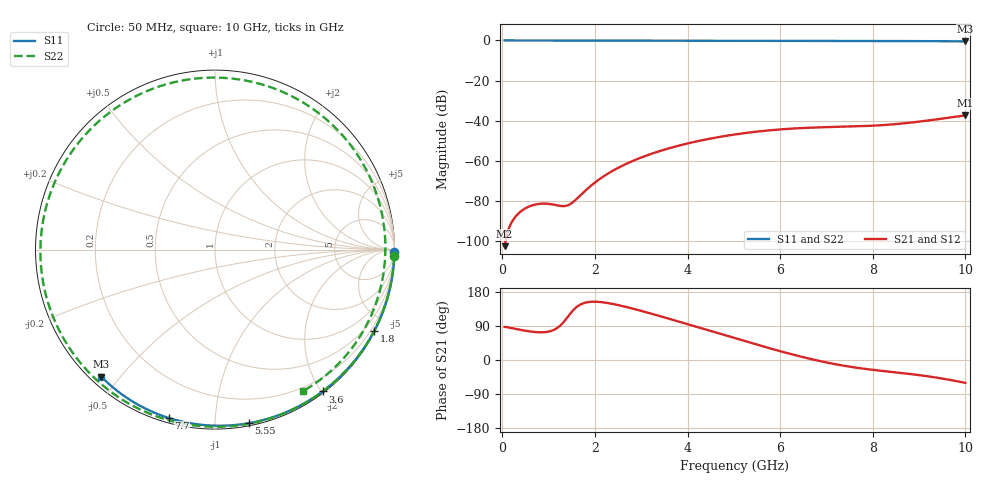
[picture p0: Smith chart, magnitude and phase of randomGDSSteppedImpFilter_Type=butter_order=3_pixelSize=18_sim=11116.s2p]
! freq	dB(S11)	phase(S11)	dB(S12)	phase(S12)
!  dB(S21)	phase(S21)	dB(S22)	phase(S22)
!S-par simulation data
#  GHz  S  DB  R 50
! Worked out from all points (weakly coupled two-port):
!   200 points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, 50 MHz to 10 GHz, reference 50 ohm
!   highest |S21| = -37.36 dB at 10 GHz (marker M1); lowest = -102.5 dB at 50 MHz (marker M2)
!   lowest |S11| = -0.4 dB at 10 GHz (marker M3), VSWR 38.88, Z = 1.54 - j22.3 ohm
!   |S11| at or under -10 dB: nowhere
!   |S22| runs from -0.6 to 0.0 dB; largest |S21 - S12| = 0
!   S11 on the Smith chart (normalised r, x): 50 MHz: open; 1.8 GHz: 0.04, -4.16; 3.6 GHz: 0.02, -2.01; 5.55 GHz: 0.02, -1.22; 7.7 GHz: 0.02, -0.76; 10 GHz: 0.03, -0.45
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0.05  -0.00 -0.8  -102.54 87.3  -102.54 87.3  -0.01 -2.2
0.75  -0.01 -11.4  -81.63 73.4  -81.63 73.4  -0.04 -31.5
1.15  -0.02 -17.4  -82.03 81.7  -82.03 81.7  -0.06 -48.1
1.55  -0.03 -23.3  -80.16 133.7  -80.16 133.7  -0.08 -64.3
1.75  -0.03 -26.3  -75.82 149.6  -75.82 149.6  -0.09 -72.4
1.8  -0.03 -27.0  -74.74 151.5  -74.74 151.5  -0.09 -74.4
2.15  -0.04 -32.1  -68.32 152.6  -68.32 152.6  -0.11 -88.3
2.55  -0.05 -37.9  -62.92 143.6  -62.92 143.6  -0.13 -104.0
2.95  -0.06 -43.7  -58.80 131.3  -58.80 131.3  -0.15 -119.5
3.4  -0.07 -50.0  -55.14 116.0  -55.14 116.0  -0.17 -137.1
3.6  -0.07 -52.8  -53.76 108.9  -53.76 108.9  -0.18 -144.9
4.35  -0.09 -63.1  -49.57 81.9  -49.57 81.9  -0.23 -174.8
5.05  -0.11 -72.4  -46.77 56.5  -46.77 56.5  -0.28 155.9
5.55  -0.13 -78.9  -45.31 38.7  -45.31 38.7  -0.31 133.9
6.15  -0.15 -86.5  -44.10 18.4  -44.10 18.4  -0.35 106.2
6.7  -0.18 -93.3  -43.43 1.6  -43.43 1.6  -0.38 80.0
7.15  -0.21 -98.8  -43.12 -10.1  -43.12 -10.1  -0.40 58.4
7.7  -0.24 -105.4  -42.78 -21.3  -42.78 -21.3  -0.42 32.5
8.35  -0.29 -113.0  -41.98 -30.7  -41.98 -30.7  -0.45 3.6
9.05  -0.35 -121.1  -40.32 -40.7  -40.32 -40.7  -0.50 -24.6
9.55  -0.40 -126.7  -38.80 -50.0  -38.80 -50.0  -0.57 -43.0
10  -0.45 -131.8  -37.36 -60.4  -37.36 -60.4  -0.65 -58.3
